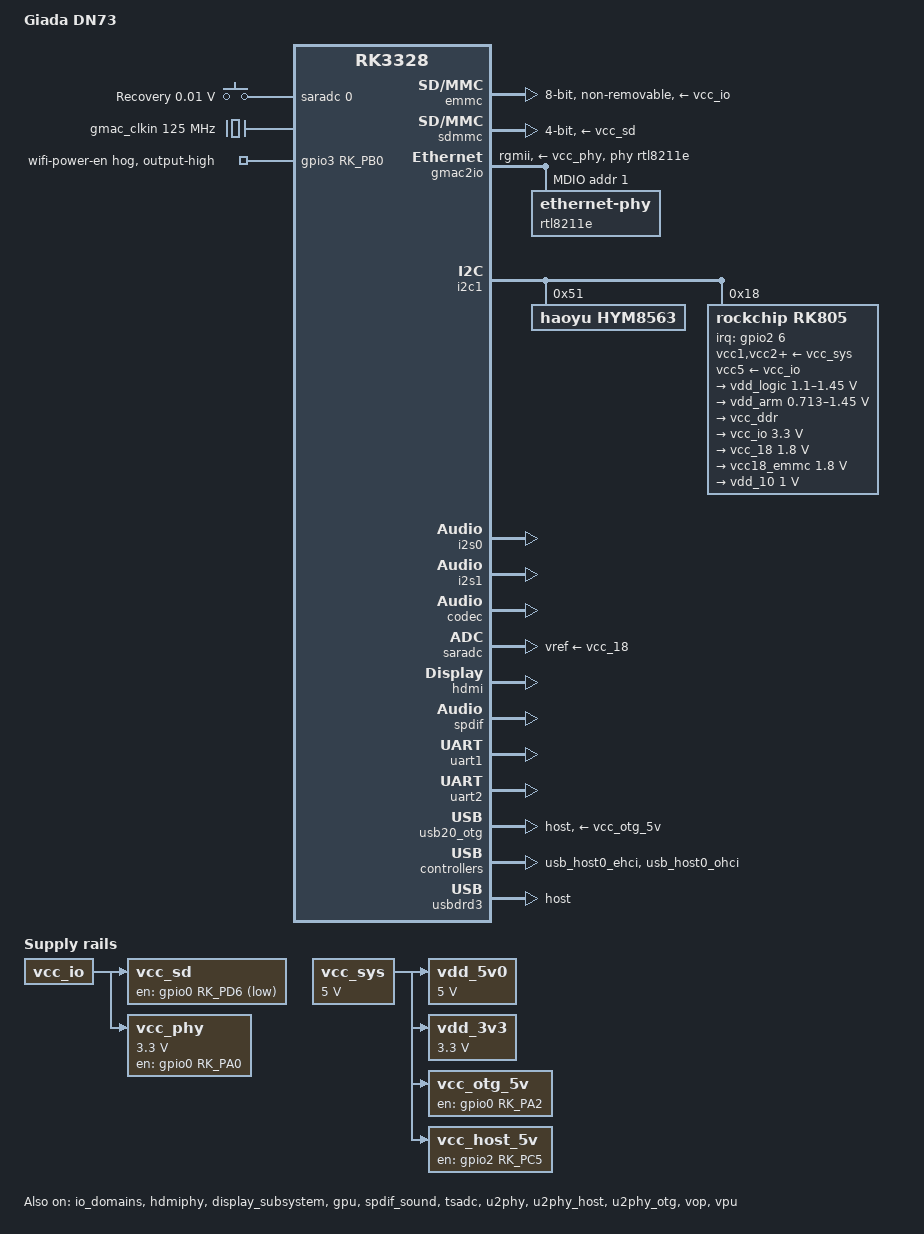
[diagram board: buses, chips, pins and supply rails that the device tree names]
// SPDX-License-Identifier: (GPL-2.0+ OR MIT)
/*
 * Giada DN73 - fanless ARM digital signage player
 *
 * Rockchip RK3328 soldered directly on a Giada-designed board (ODM JieHe,
 * board marking JHS557). Not a SoM: the SoC, DDR3, eMMC, the RTL8211E
 * gigabit PHY and an RTL8821CU USB WiFi/BT combo all sit on one PCB.
 *
 * Derived from rk3328-dusun-dsom-010r.dts, which shares the SoC and the
 * RK805 power design. Board-specific values (PHY power/reset GPIOs, RGMII
 * delays, WiFi power GPIO) come from the vendor Android device tree
 * "GIADA JHS557 ANDROID Q".
 */

/dts-v1/;

#include <dt-bindings/gpio/gpio.h>
#include <dt-bindings/input/input.h>
#include <dt-bindings/pinctrl/rockchip.h>

#include "rk3328.dtsi"
#include "rk3328-dram-default-timing.dtsi"

/ {
	model = "Giada DN73";
	compatible = "giada,dn73", "rockchip,rk3328";

	aliases {
		ethernet0 = &gmac2io;
		mmc0 = &sdmmc;
		mmc2 = &emmc;
		/*
		 * The HYM8563 gets rtc0 so that userspace syncs the chip that
		 * actually has a backup cell. The RK805 keeps its own RTC and
		 * falls through to rtc1.
		 */
		rtc0 = &hym8563;
	};

	chosen {
		stdout-path = "serial2:1500000n8";
	};

	adc-keys {
		compatible = "adc-keys";
		io-channels = <&saradc 0>;
		io-channel-names = "buttons";
		keyup-threshold-microvolt = <1750000>;

		button-recovery {
			label = "Recovery";
			linux,code = <KEY_VENDOR>;
			press-threshold-microvolt = <10000>;
		};
	};

	gmac_clkin: external-gmac-clock {
		compatible = "fixed-clock";
		clock-frequency = <125000000>;
		clock-output-names = "gmac_clkin";
		#clock-cells = <0>;
	};

	vcc_sys: vcc-sys {
		compatible = "regulator-fixed";
		regulator-name = "vcc_sys";
		regulator-always-on;
		regulator-boot-on;
		regulator-min-microvolt = <5000000>;
		regulator-max-microvolt = <5000000>;
	};

	vdd_5v0: vdd_5v0 {
		compatible = "regulator-fixed";
		regulator-name = "vdd_5v0";
		regulator-always-on;
		regulator-boot-on;
		regulator-min-microvolt = <5000000>;
		regulator-max-microvolt = <5000000>;
		vin-supply = <&vcc_sys>;
	};

	vdd_3v3: vdd_3v3 {
		compatible = "regulator-fixed";
		regulator-name = "vdd_3v3";
		regulator-always-on;
		regulator-boot-on;
		regulator-min-microvolt = <3300000>;
		regulator-max-microvolt = <3300000>;
		vin-supply = <&vcc_sys>;
	};

	vcc_sd: sdmmc-regulator {
		compatible = "regulator-fixed";
		gpio = <&gpio0 RK_PD6 GPIO_ACTIVE_LOW>;
		pinctrl-names = "default";
		pinctrl-0 = <&sdmmc0m1_pin>;
		regulator-name = "vcc_sd";
		regulator-boot-on;
		vin-supply = <&vcc_io>;
	};

	/*
	 * USB VBUS enables. The Dusun SoM drives GPIO3_A5 and GPIO3_A7 for
	 * these; on this board those two pins are uart1 RTS and CTS, i.e. the
	 * DB9 RS232 port, and the real enables are elsewhere - GPIO0_A2 and
	 * GPIO2_C5 per the vendor device tree.
	 *
	 * All four USB connectors were measured to enumerate with both pins
	 * held low, so VBUS is not actually gated on this revision and these
	 * regulators change nothing by themselves. They are corrected anyway
	 * because the wrong pins did do damage: they took the serial port
	 * away.
	 */
	vcc_otg_5v: vcc-otg-5v-regulator {
		compatible = "regulator-fixed";
		gpio = <&gpio0 RK_PA2 GPIO_ACTIVE_HIGH>;
		pinctrl-names = "default";
		pinctrl-0 = <&usb_otg_drv>;
		enable-active-high;
		regulator-name = "vcc_otg_5v";
		vin-supply = <&vcc_sys>;
	};

	vcc_host_5v: vcc-host-5v-regulator {
		compatible = "regulator-fixed";
		gpio = <&gpio2 RK_PC5 GPIO_ACTIVE_HIGH>;
		pinctrl-names = "default";
		pinctrl-0 = <&usb_host_drv>;
		enable-active-high;
		regulator-always-on;
		regulator-name = "vcc_host_5v";
		vin-supply = <&vcc_sys>;
	};

	/*
	 * Supply of the RTL8211E. Unlike on the Dusun SoM this is not a
	 * permanently powered rail - it is switched by GPIO0_A0, which the
	 * vendor device tree exposes through a pinctrl group literally named
	 * "eth-power-gpio". Without it the PHY never starts: MDIO reads return
	 * all zeroes and the RJ45 link LEDs stay dark.
	 */
	vcc_phy: vcc-phy-regulator {
		compatible = "regulator-fixed";
		gpio = <&gpio0 RK_PA0 GPIO_ACTIVE_HIGH>;
		pinctrl-names = "default";
		pinctrl-0 = <&eth_power_en>;
		enable-active-high;
		regulator-name = "vcc_phy";
		regulator-min-microvolt = <3300000>;
		regulator-max-microvolt = <3300000>;
		regulator-always-on;
		regulator-boot-on;
		vin-supply = <&vcc_io>;
	};

	/delete-node/ opp-table-0;

	cpu0_opp_table: opp_table0 {
		compatible = "operating-points-v2";
		opp-shared;

		opp-600000000 {
			opp-hz = /bits/ 64 <600000000>;
			opp-microvolt = <950000>;
			clock-latency-ns = <40000>;
			opp-suspend;
		};
		opp-816000000 {
			opp-hz = /bits/ 64 <816000000>;
			opp-microvolt = <1000000>;
			clock-latency-ns = <40000>;
		};
		opp-1008000000 {
			opp-hz = /bits/ 64 <1008000000>;
			opp-microvolt = <1100000>;
			clock-latency-ns = <40000>;
		};
		opp-1200000000 {
			opp-hz = /bits/ 64 <1200000000>;
			opp-microvolt = <1200000>;
			clock-latency-ns = <40000>;
		};
		opp-1296000000 {
			opp-hz = /bits/ 64 <1296000000>;
			opp-microvolt = <1275000>;
			clock-latency-ns = <40000>;
		};
	};

	analog_sound: analog-sound {
		compatible = "simple-audio-card";
		simple-audio-card,format = "i2s";
		simple-audio-card,mclk-fs = <256>;
		simple-audio-card,name = "ANALOG";
		status = "okay";

		simple-audio-card,cpu {
			sound-dai = <&i2s1>;
		};

		simple-audio-card,codec {
			sound-dai = <&codec>;
		};
	};

	hdmi_sound: hdmi-sound {
		compatible = "simple-audio-card";
		simple-audio-card,format = "i2s";
		simple-audio-card,mclk-fs = <128>;
		simple-audio-card,name = "HDMI";
		status = "okay";

		simple-audio-card,cpu {
			sound-dai = <&i2s0>;
		};

		simple-audio-card,codec {
			sound-dai = <&hdmi>;
		};
	};
};

&cpu0 {
	cpu-supply = <&vdd_arm>;
};

&cpu1 {
	cpu-supply = <&vdd_arm>;
};

&cpu2 {
	cpu-supply = <&vdd_arm>;
};

&cpu3 {
	cpu-supply = <&vdd_arm>;
};

&emmc {
	bus-width = <8>;
	cap-mmc-highspeed;
	mmc-ddr-1_8v;
	mmc-hs200-1_8v;
	non-removable;
	pinctrl-names = "default";
	pinctrl-0 = <&emmc_clk>, <&emmc_cmd>, <&emmc_bus8>;
	vmmc-supply = <&vcc_io>;
	vqmmc-supply = <&vcc18_emmc>;
	status = "okay";
};

/*
 * No SDIO device on this board - the WiFi/BT combo is USB attached. The SDIO
 * controller has to stay off anyway, because its pins overlap the RGMII group
 * used by gmac2io and it would claim them first.
 */
&sdio {
	status = "disabled";
};

&sdmmc {
	bus-width = <4>;
	cap-sd-highspeed;
	disable-wp;
	pinctrl-names = "default";
	pinctrl-0 = <&sdmmc0_clk>, <&sdmmc0_cmd>, <&sdmmc0_dectn>, <&sdmmc0_bus4>;
	vmmc-supply = <&vcc_sd>;
	status = "okay";
};

/*
 * Gigabit MAC driving the external RTL8211E. The PHY must be listed as a
 * child of the mdio node: of_mdiobus_register() sets phy_mask = ~0, so once
 * an mdio node exists no bus scan happens at all and only PHYs described in
 * the device tree get registered. Leaving it out ends in "no phy found".
 */
&gmac2io {
	assigned-clocks = <&cru SCLK_MAC2IO>, <&cru SCLK_MAC2IO_EXT>;
	assigned-clock-parents = <&gmac_clkin>, <&gmac_clkin>;
	clock_in_out = "input";
	phy-handle = <&rtl8211e>;
	phy-mode = "rgmii";
	phy-supply = <&vcc_phy>;
	pinctrl-names = "default";
	pinctrl-0 = <&rgmiim1_pins>;
	snps,aal;
	snps,rxpbl = <0x4>;
	snps,txpbl = <0x4>;
	tx_delay = <0x26>;
	rx_delay = <0x11>;
	status = "okay";

	mdio {
		compatible = "snps,dwmac-mdio";
		#address-cells = <1>;
		#size-cells = <0>;

		/*
		 * Reset has to be actively driven high - nothing else holds
		 * this line, and the board pulls it down, keeping the PHY
		 * silent even when its supply is on.
		 */
		reset-gpios = <&gpio1 RK_PD0 GPIO_ACTIVE_LOW>;
		reset-delay-us = <20000>;
		reset-post-delay-us = <100000>;

		rtl8211e: ethernet-phy@1 {
			reg = <1>;
		};
	};
};

/* The internal 100M PHY is not wired to anything on this board. */
&gmac2phy {
	status = "disabled";
};

&gpio0 {
	gpio-line-names =
		/* GPIO0_A0 - A7 */
		"eth-power-en", "", "", "", "", "", "", "",
		/* GPIO0_B0 - B7 */
		"", "", "", "", "", "", "", "",
		/* GPIO0_C0 - C7 */
		"", "", "", "", "", "", "", "",
		/* GPIO0_D0 - D7 */
		"", "", "", "", "", "", "", "";
};

&gpio1 {
	gpio-line-names =
		/* GPIO1_A0 - A7 */
		"", "", "", "", "", "", "", "",
		/* GPIO1_B0 - B7 */
		"", "", "", "", "", "", "", "",
		/* GPIO1_C0 - C7 */
		"", "", "", "", "", "", "", "",
		/* GPIO1_D0 - D7 */
		"eth-phy-reset", "", "", "", "", "", "", "";
};

&gpio3 {
	gpio-line-names =
		/* GPIO3_A0 - A7 */
		"", "", "", "", "", "", "", "",
		/* GPIO3_B0 - B7 */
		"wifi-power-en", "", "", "", "", "", "", "",
		/* GPIO3_C0 - C7 */
		"", "", "", "", "", "", "", "",
		/* GPIO3_D0 - D7 */
		"", "", "", "", "", "", "", "";

	/*
	 * The onboard RTL8821CU hangs off the GL850G USB hub but has its own
	 * supply pin. The vendor drives it from a "wireless-wlan" node with a
	 * WIFI,poweren_gpio property - a Rockchip vendor-kernel binding that
	 * does not exist in mainline. Simply holding the line high is enough:
	 * both the wlan interface (rtw88_8821cu) and bluetooth (btusb) appear.
	 */
	wifi-power-hog {
		gpio-hog;
		gpios = <RK_PB0 GPIO_ACTIVE_HIGH>;
		output-high;
		line-name = "wifi-power-en";
	};
};

&i2c1 {
	status = "okay";

	/*
	 * Battery-backed RTC, on the same bus as the PMIC. The Dusun profile
	 * has no idea it exists and leaves the machine relying on the RK805's
	 * RTC alone. The chip on the unit tested here came up with its
	 * voltage-low flag clear, so the cell is fitted and had kept the
	 * oscillator running.
	 *
	 * No interrupt is described on purpose. The vendor device tree points
	 * its irq_gpio at GPIO2_C4, but that pin does not move when the alarm
	 * fires: with AIE set and AF latched in the chip, a read of every GPIO
	 * bank's EXT_PORT register is unchanged. The INT output goes to the
	 * power circuitry rather than to the SoC, which is the only way the
	 * datasheet's "RTC: set up independently every day, a week as a cycle"
	 * can work - scheduled power-on has to act while the SoC is off.
	 *
	 * Declaring the interrupt anyway would expose an rtc wakealarm that
	 * accepts a time and then silently never fires.
	 */
	hym8563: rtc@51 {
		compatible = "haoyu,hym8563";
		reg = <0x51>;
		#clock-cells = <0>;
		clock-output-names = "hym8563_clkout";
	};

	rk805: pmic@18 {
		compatible = "rockchip,rk805";
		reg = <0x18>;
		interrupt-parent = <&gpio2>;
		interrupts = <6 IRQ_TYPE_LEVEL_LOW>;
		#clock-cells = <1>;
		clock-output-names = "xin32k", "rk805-clkout2";
		gpio-controller;
		#gpio-cells = <2>;
		pinctrl-names = "default";
		pinctrl-0 = <&pmic_int_l>, <&pmic_sleep_l>;
		rockchip,system-power-controller;
		wakeup-source;

		vcc1-supply = <&vcc_sys>;
		vcc2-supply = <&vcc_sys>;
		vcc3-supply = <&vcc_sys>;
		vcc4-supply = <&vcc_sys>;
		vcc5-supply = <&vcc_io>;
		vcc6-supply = <&vcc_sys>;

		regulators {
			vdd_logic: DCDC_REG1 {
				regulator-name = "vdd_log";
				regulator-always-on;
				regulator-boot-on;
				regulator-min-microvolt = <1100000>;
				regulator-max-microvolt = <1450000>;
				regulator-ramp-delay = <12500>;

				regulator-state-mem {
					regulator-on-in-suspend;
					regulator-suspend-microvolt = <1000000>;
				};
			};

			vdd_arm: DCDC_REG2 {
				regulator-name = "vdd_arm";
				regulator-always-on;
				regulator-boot-on;
				regulator-min-microvolt = <712500>;
				regulator-max-microvolt = <1450000>;
				regulator-ramp-delay = <12500>;

				regulator-state-mem {
					regulator-on-in-suspend;
					regulator-suspend-microvolt = <950000>;
				};
			};

			vcc_ddr: DCDC_REG3 {
				regulator-name = "vcc_ddr";
				regulator-always-on;
				regulator-boot-on;

				regulator-state-mem {
					regulator-on-in-suspend;
				};
			};

			vcc_io: DCDC_REG4 {
				regulator-name = "vcc_io";
				regulator-always-on;
				regulator-boot-on;
				regulator-min-microvolt = <3300000>;
				regulator-max-microvolt = <3300000>;

				regulator-state-mem {
					regulator-on-in-suspend;
					regulator-suspend-microvolt = <3300000>;
				};
			};

			vcc_18: LDO_REG1 {
				regulator-name = "vcc_18";
				regulator-always-on;
				regulator-boot-on;
				regulator-min-microvolt = <1800000>;
				regulator-max-microvolt = <1800000>;

				regulator-state-mem {
					regulator-on-in-suspend;
					regulator-suspend-microvolt = <1800000>;
				};
			};

			vcc18_emmc: LDO_REG2 {
				regulator-name = "vcc18_emmc";
				regulator-always-on;
				regulator-boot-on;
				regulator-min-microvolt = <1800000>;
				regulator-max-microvolt = <1800000>;

				regulator-state-mem {
					regulator-on-in-suspend;
					regulator-suspend-microvolt = <1800000>;
				};
			};

			vdd_10: LDO_REG3 {
				regulator-name = "vdd_10";
				regulator-always-on;
				regulator-boot-on;
				regulator-min-microvolt = <1000000>;
				regulator-max-microvolt = <1000000>;

				regulator-state-mem {
					regulator-on-in-suspend;
					regulator-suspend-microvolt = <1000000>;
				};
			};
		};
	};
};

&i2s0 {
	status = "okay";
};

&i2s1 {
	status = "okay";
};

&codec {
	status = "okay";
	mute-gpios = <&grf_gpio 0 GPIO_ACTIVE_LOW>;
};

&io_domains {
	pmuio-supply = <&vcc_io>;
	vccio1-supply = <&vcc_io>;
	vccio2-supply = <&vcc18_emmc>;
	vccio3-supply = <&vcc_io>;
	vccio4-supply = <&vcc_18>;
	vccio5-supply = <&vcc_io>;
	vccio6-supply = <&vcc_io>;
	status = "okay";
};

&pinctrl {

	ethernet {
		eth_power_en: eth-power-en {
			rockchip,pins = <0 RK_PA0 RK_FUNC_GPIO &pcfg_pull_none>;
		};
	};

	pmic {
		pmic_int_l: pmic-int-l {
			rockchip,pins = <2 RK_PA6 RK_FUNC_GPIO &pcfg_pull_up>;
		};

		pmic_sleep_l: pmic-sleep-l {
			rockchip,pins = <2 RK_PD2 RK_FUNC_GPIO &pcfg_pull_down>;
		};
	};

	usb2 {
		usb_otg_drv: usb-otg-drv {
			rockchip,pins = <0 RK_PA2 RK_FUNC_GPIO &pcfg_pull_none>;
		};

		usb_host_drv: usb-host-drv {
			rockchip,pins = <2 RK_PC5 RK_FUNC_GPIO &pcfg_pull_none>;
		};
	};
};

&saradc {
	vref-supply = <&vcc_18>;
	status = "okay";
};

&dmc {
	status = "disabled";
};

&hdmi {
	status = "okay";
};

&hdmiphy {
	status = "okay";
};

&display_subsystem {
	status = "okay";
};

&gpu {
	status = "okay";
	mali-supply = <&vdd_logic>;
};

&spdif {
	pinctrl-0 = <&spdifm0_tx>;
	status = "okay";
};

&spdif_out {
	status = "okay";
};

&spdif_sound {
	status = "okay";
};

&threshold {
	temperature = <80000>; /* millicelsius */
};

&target {
	temperature = <95000>; /* millicelsius */
};

&soc_crit {
	temperature = <100000>; /* millicelsius */
};

&tsadc {
	rockchip,hw-tshut-mode = <0>;
	rockchip,hw-tshut-polarity = <0>;
	status = "okay";
};

/*
 * uart0 stays off: its pins are part of the same RGMII group gmac2io needs,
 * and there is no UART peripheral on this board - bluetooth is USB.
 * The serial console is uart2.
 */
&uart0 {
	status = "disabled";
};

/*
 * The DB9 on the back panel. Full RS232 with hardware flow control:
 * GPIO3_A4/A6 are RXD/TXD, GPIO3_A5 is RTS and GPIO3_A7 is CTS. Exposed as
 * /dev/ttyS1.
 */
&uart1 {
	pinctrl-names = "default";
	pinctrl-0 = <&uart1_xfer>, <&uart1_cts>, <&uart1_rts>;
	status = "okay";
};

&uart2 {
	/delete-property/ dmas;
	/delete-property/ dma-names;

	status = "okay";
};

&u2phy {
	status = "okay";
};

&u2phy_host {
	status = "okay";
};

&u2phy_otg {
	status = "okay";
};

&usb20_otg {
	dr_mode = "host";
	resets = <&cru SRST_USB2OTG>;
	reset-names = "dwc2";
	vbus-supply = <&vcc_otg_5v>;
	status = "okay";
};

&usb_host0_ehci {
	#address-cells = <1>;
	#size-cells = <0>;
	resets = <&cru SRST_USB2HOST_EHCIPHY>;
	reset-names = "ehci";
	status = "okay";
};

&usb_host0_ohci {
	status = "okay";
};

&usbdrd3 {
	#address-cells = <1>;
	#size-cells = <0>;
	dr_mode = "host";
	status = "okay";
};

&vop {
	status = "okay";
};

&vop_mmu {
	status = "okay";
};

&vpu {
	status = "okay";
	vcodec-supply = <&vdd_logic>;
};

&vpu_mmu {
	status = "okay";
};

&vepu_mmu {
	status = "okay";
};

&h265e_mmu {
	status = "okay";
};
